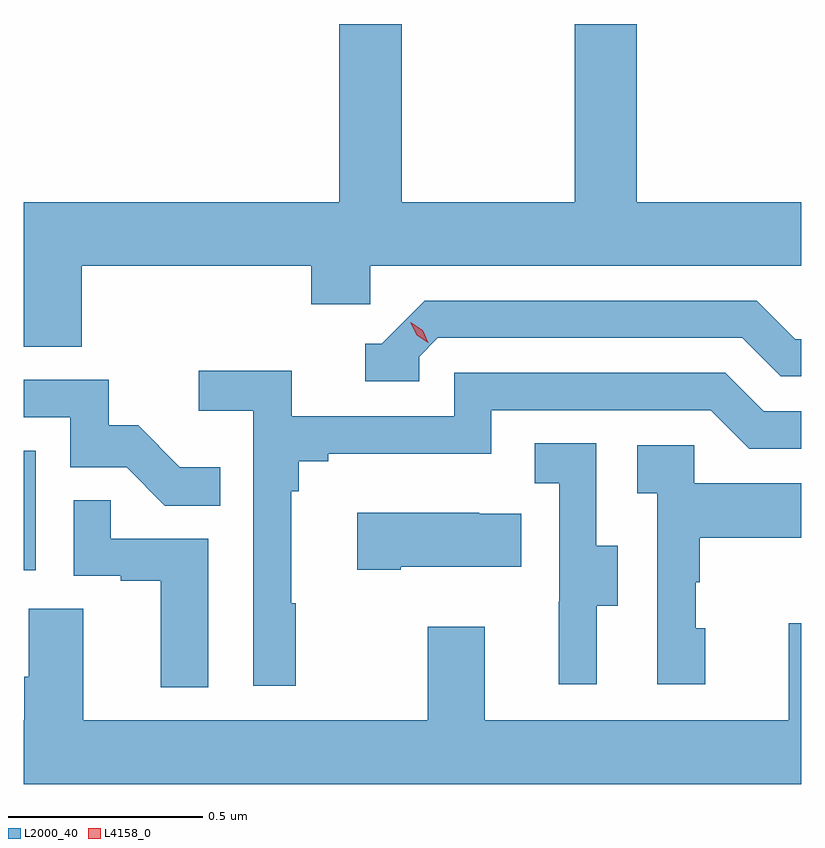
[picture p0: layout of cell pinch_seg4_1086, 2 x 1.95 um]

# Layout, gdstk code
import gdstk
lib = gdstk.Library(unit=1e-6, precision=1e-09)
def R(c, l, rs):  # rectangles x0, y0, x1, y1
    for r in rs: c.add(gdstk.rectangle(r[:2], r[2:], *l))
def P(c, l, *ps):  # polygons
    for p in ps: c.add(gdstk.Polygon(p, *l))
L2000_40 = (2000, 40)
L4158_0 = (4158, 0)

pinch_seg4_1086 = lib.new_cell('pinch_seg4_1086')
R(pinch_seg4_1086, L2000_40, [(832.563,750.75,832.594,751.057)])
P(pinch_seg4_1086, L2000_40, [(834.563,751.696),(834.14,751.696),(834.14,752.154),(833.98,752.154),(833.98,751.696),(833.535,751.696),(833.535,752.154),(833.375,752.154),(833.375,751.696),(832.563,751.696),(832.563,751.324),(832.712,751.324),(832.712,751.532),(833.303,751.532),(833.303,751.434),(833.454,751.434),(833.454,751.532),(834.563,751.532)],
  [(833.58,751.299),(833.628,751.347),(834.411,751.347),(834.51,751.248),(834.563,751.248),(834.563,751.344),(834.547,751.344),(834.448,751.443),(833.595,751.443),(833.484,751.332),(833.441,751.332),(833.441,751.236),(833.58,751.236)],
  [(833.263,750.665),(833.251,750.665),(833.251,750.953),(833.27,750.953),(833.27,751.03),(833.347,751.03),(833.347,751.049),(833.766,751.049),(833.766,751.161),(834.33,751.161),(834.429,751.062),(834.563,751.062),(834.563,751.158),(834.466,751.158),(834.367,751.257),(833.67,751.257),(833.67,751.146),(833.252,751.146),(833.252,751.262),(833.013,751.262),(833.013,751.16),(833.154,751.16),(833.154,750.453),(833.263,750.453)],
  [(833.069,751.015),(832.965,751.015),(832.858,751.122),(832.782,751.122),(832.782,751.239),(832.563,751.239),(832.563,751.143),(832.683,751.143),(832.683,751.014),(832.828,751.014),(832.926,750.916),(833.069,750.916)],
  [(834.037,750.658),(834.091,750.658),(834.091,750.813),(834.036,750.813),(834.036,751.076),(833.877,751.076),(833.877,750.973),(833.94,750.973),(833.94,750.669),(833.939,750.669),(833.939,750.456),(834.037,750.456)],
  [(834.316,750.6),(834.291,750.6),(834.291,750.719),(834.301,750.719),(834.301,750.833),(834.563,750.833),(834.563,750.973),(834.288,750.973),(834.288,751.071),(834.141,751.071),(834.141,750.947),(834.192,750.947),(834.192,750.456),(834.316,750.456)],
  [(833.038,750.831),(832.787,750.831),(832.787,750.929),(832.692,750.929),(832.692,750.735),(832.813,750.735),(832.813,750.723),(832.916,750.723),(832.916,750.449),(833.038,750.449)],
  [(833.533,750.758),(833.843,750.758),(833.843,750.895),(833.735,750.895),(833.735,750.898),(833.421,750.898),(833.421,750.751),(833.533,750.751)],
  [(834.563,750.613),(834.53,750.613),(834.53,750.364),(833.749,750.364),(833.749,750.604),(833.602,750.604),(833.602,750.364),(832.717,750.364),(832.717,750.65),(832.577,750.65),(832.577,750.476),(832.565,750.476),(832.565,750.364),(832.563,750.364),(832.563,750.2),(834.563,750.2)])
P(pinch_seg4_1086, L4158_0, [(833.604,751.334),(833.574,751.354),(833.558,751.386),(833.558,751.387),(833.558,751.387),(833.589,751.367),(833.604,751.334),(833.604,751.334)])

lib.write_gds('pinch_seg4_1086.gds')
